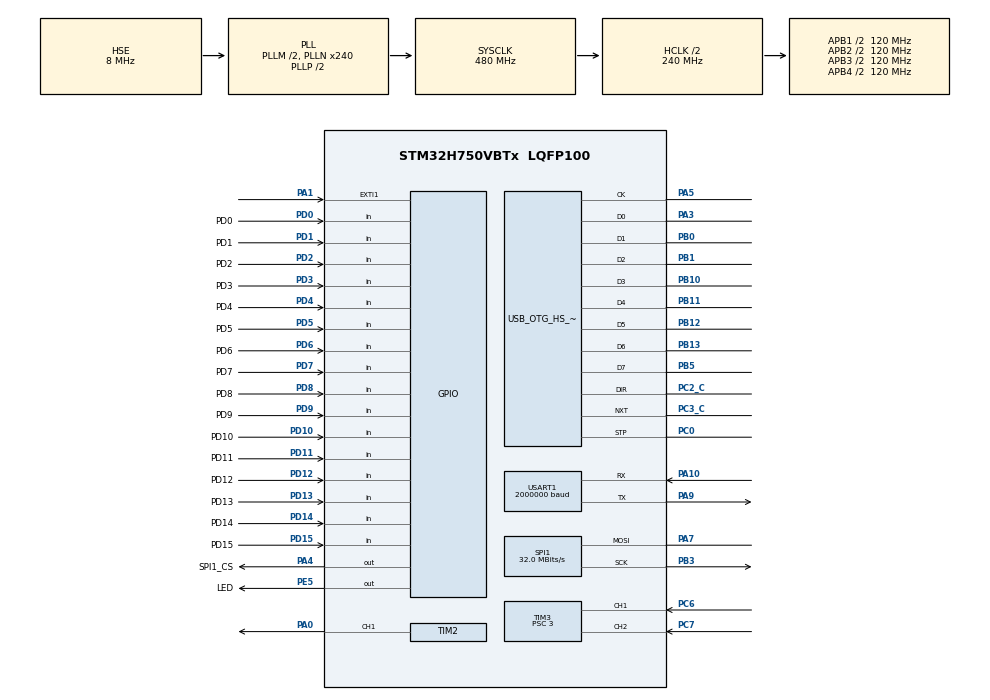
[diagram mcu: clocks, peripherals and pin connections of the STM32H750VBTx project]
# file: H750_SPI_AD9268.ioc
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CORTEX_M7.CPU_DCache=Enabled
CORTEX_M7.CPU_ICache=Enabled
Mcu.Family=STM32H7
Mcu.Name=STM32H750VBTx
Mcu.Package=LQFP100
NVIC.EXTI1_IRQn=true\:0\:0\:false\:false\:true\:true\:true\:true
NVIC.OTG_HS_EP1_IN_IRQn=true\:0\:0\:false\:false\:true\:true\:true\:true
NVIC.OTG_HS_EP1_OUT_IRQn=true\:0\:0\:false\:false\:true\:true\:true\:true
NVIC.OTG_HS_IRQn=true\:0\:0\:false\:false\:true\:true\:true\:true
NVIC.PriorityGroup=NVIC_PRIORITYGROUP_2
NVIC.TIM3_IRQn=true\:0\:0\:false\:false\:true\:true\:true\:true
NVIC.USART1_IRQn=true\:0\:0\:false\:false\:true\:true\:true\:true
PA0.GPIO_Speed=GPIO_SPEED_FREQ_VERY_HIGH
PA0.Signal=S_TIM2_CH1_ETR
PA1.GPIO_PuPd=GPIO_PULLUP
PA1.Signal=GPXTI1
PA10.Mode=Asynchronous
PA10.Signal=USART1_RX
PA3.Mode=Device_HS
PA3.Signal=USB_OTG_HS_ULPI_D0
PA4.GPIO_Label=SPI1_CS
PA4.GPIO_Speed=GPIO_SPEED_FREQ_VERY_HIGH
PA4.Signal=GPIO_Output
PA5.Mode=Device_HS
PA5.Signal=USB_OTG_HS_ULPI_CK
PA7.Mode=Simplex_Bidirectional_Master
PA7.Signal=SPI1_MOSI
PA9.Mode=Asynchronous
PA9.Signal=USART1_TX
PB0.Mode=Device_HS
PB0.Signal=USB_OTG_HS_ULPI_D1
PB1.Mode=Device_HS
PB1.Signal=USB_OTG_HS_ULPI_D2
PB10.Mode=Device_HS
PB10.Signal=USB_OTG_HS_ULPI_D3
PB11.Mode=Device_HS
PB11.Signal=USB_OTG_HS_ULPI_D4
PB12.Mode=Device_HS
PB12.Signal=USB_OTG_HS_ULPI_D5
PB13.Mode=Device_HS
PB13.Signal=USB_OTG_HS_ULPI_D6
PB3\ (JTDO/TRACESWO).Mode=Simplex_Bidirectional_Master
PB3\ (JTDO/TRACESWO).Signal=SPI1_SCK
PB5.Mode=Device_HS
PB5.Signal=USB_OTG_HS_ULPI_D7
PC0.Mode=Device_HS
PC0.Signal=USB_OTG_HS_ULPI_STP
PC2_C.Mode=Device_HS
PC2_C.Signal=USB_OTG_HS_ULPI_DIR
PC3_C.Mode=Device_HS
PC3_C.Signal=USB_OTG_HS_ULPI_NXT
PC6.GPIO_Speed=GPIO_SPEED_FREQ_VERY_HIGH
PC6.Signal=S_TIM3_CH1
PC7.GPIO_Speed=GPIO_SPEED_FREQ_VERY_HIGH
PC7.Signal=S_TIM3_CH2
PD0.GPIO_Label=PD0
PD0.Signal=GPIO_Input
PD1.GPIO_Label=PD1
PD1.Signal=GPIO_Input
PD10.GPIO_Label=PD10
PD10.Signal=GPIO_Input
PD11.GPIO_Label=PD11
PD11.Signal=GPIO_Input
PD12.GPIO_Label=PD12
PD12.Signal=GPIO_Input
PD13.GPIO_Label=PD13
PD13.Signal=GPIO_Input
PD14.GPIO_Label=PD14
PD14.Signal=GPIO_Input
PD15.GPIO_Label=PD15
PD15.Signal=GPIO_Input
PD2.GPIO_Label=PD2
PD2.Signal=GPIO_Input
PD3.GPIO_Label=PD3
PD3.Signal=GPIO_Input
PD4.GPIO_Label=PD4
PD4.Signal=GPIO_Input
PD5.GPIO_Label=PD5
PD5.Signal=GPIO_Input
PD6.GPIO_Label=PD6
PD6.Signal=GPIO_Input
PD7.GPIO_Label=PD7
PD7.Signal=GPIO_Input
PD8.GPIO_Label=PD8
PD8.Signal=GPIO_Input
PD9.GPIO_Label=PD9
PD9.Signal=GPIO_Input
PE5.GPIO_Label=LED
PE5.Signal=GPIO_Output
PH0-OSC_IN\ (PH0).Mode=HSE-External-Oscillator
PH0-OSC_IN\ (PH0).Signal=RCC_OSC_IN
PH1-OSC_OUT\ (PH1).Mode=HSE-External-Oscillator
PH1-OSC_OUT\ (PH1).Signal=RCC_OSC_OUT
ProjectManager.HeapSize=0x400
ProjectManager.StackSize=0x400
ProjectManager.TargetToolchain=MDK-ARM V5
RCC.ADCFreq_Value=16125000
RCC.APB1Freq_Value=120000000
RCC.APB2Freq_Value=120000000
RCC.APB3Freq_Value=120000000
RCC.APB4Freq_Value=120000000
RCC.CortexFreq_Value=480000000
RCC.D1PPRE=RCC_APB3_DIV2
RCC.D2PPRE1=RCC_APB1_DIV2
RCC.D2PPRE2=RCC_APB2_DIV2
RCC.D3PPRE=RCC_APB4_DIV2
RCC.DIVM1=2
RCC.DIVN1=240
RCC.HCLKFreq_Value=240000000
RCC.HPRE=RCC_HCLK_DIV2
RCC.HSE_VALUE=8000000
RCC.PLLSourceVirtual=RCC_PLLSOURCE_HSE
RCC.PWR_Regulator_Voltage_Scale=PWR_REGULATOR_VOLTAGE_SCALE0
RCC.ProductRev=revV
RCC.SPI123CLockSelection=RCC_SPI123CLKSOURCE_CLKP
RCC.SYSCLKFreq_VALUE=480000000
RCC.SYSCLKSource=RCC_SYSCLKSOURCE_PLLCLK
RCC.USBCLockSelection=RCC_USBCLKSOURCE_HSI48
RCC.USBFreq_Value=48000000
SH.S_TIM2_CH1_ETR.0=TIM2_CH1,PWM Generation1 CH1
SH.S_TIM3_CH1.0=TIM3_CH1,Encoder_Interface
SH.S_TIM3_CH2.0=TIM3_CH2,Encoder_Interface
SPI1.BaudRatePrescaler=SPI_BAUDRATEPRESCALER_2
SPI1.CLKPhase=SPI_PHASE_1EDGE
SPI1.CalculateBaudRate=32.0 MBits/s
SPI1.DataSize=SPI_DATASIZE_8BIT
SPI1.Direction=SPI_DIRECTION_1LINE
SPI1.Mode=SPI_MODE_MASTER
SPI1.VirtualType=VM_MASTER
TIM2.Channel-PWM\ Generation1\ CH1=TIM_CHANNEL_1
TIM2.Period=3-1
TIM2.Prescaler=2-1
TIM2.Pulse-PWM\ Generation1\ CH1=1
TIM3.EncoderMode=TIM_ENCODERMODE_TI12
TIM3.IC1Filter=5
TIM3.IC2Filter=5
TIM3.Period=65535
TIM3.Prescaler=3
USART1.BaudRate=2000000
USART1.VirtualMode-Asynchronous=VM_ASYNC
USB_DEVICE.CLASS_NAME_HS=CDC
USB_DEVICE.VirtualMode-CDC_HS=Cdc
USB_DEVICE.VirtualModeHS=Cdc_HS
USB_OTG_HS.VirtualMode-Device_HS=Device_HS
VP_TIM2_VS_ClockSourceINT.Mode=Internal
VP_USB_DEVICE_VS_USB_DEVICE_CDC_HS.Mode=CDC_HS
board=custom

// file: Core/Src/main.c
/* USER CODE BEGIN Header */
/**
  ******************************************************************************
  * @file           : main.c
  * @brief          : Main program body
  ******************************************************************************
  * @attention
  *
  * Copyright (c) 2024 STMicroelectronics.
  * All rights reserved.
  *
  * This software is licensed under terms that can be found in the LICENSE file
  * in the root directory of this software component.
  * If no LICENSE file comes with this software, it is provided AS-IS.
  *
  ******************************************************************************
  */
/* USER CODE END Header */
#include "main.h"
#include "spi.h"
#include "tim.h"
#include "usart.h"
#include "usb_device.h"
#include "gpio.h"

/* USER CODE BEGIN Includes */
//#include "retarget.h"
#include "AD9268.h"
#include "Parallel_to_Serial.h"
#include "stdio.h"
#include <stdint.h>

#include "usbd_cdc_if.h"
#include <stdlib.h>
int fputc(int ch, FILE *f)
{
  HAL_UART_Transmit(&huart1, (uint8_t *)&ch, 1, 0xffff);
  return ch;
}
int fgetc(FILE *f)
{
  uint8_t ch = 0;
  HAL_UART_Receive(&huart1, &ch, 1, 0xffff);
  return ch;
}

/* USER CODE END Includes */

/* USER CODE BEGIN PV */

int    enc1;
int    enc2;
int  average_value=0;

int Measure_freq=0;
int Measure_step=0;
uint16_t ev_co[1520];
uint16_t adc_array[1520];
/* USER CODE END PV */

void SystemClock_Config(void);
void PeriphCommonClock_Config(void);

/* USER CODE BEGIN 0 */
extern USBD_HandleTypeDef hUsbDeviceHS;
extern  int Data_Counter;
extern int16_t ans[17000];
uint8_t		buf[2900];
/* USER CODE END 0 */

int main(void)
{

  /* Enable I-Cache---------------------------------------------------------*/
  SCB_EnableICache();

  /* Enable D-Cache---------------------------------------------------------*/
  SCB_EnableDCache();

  /* MCU Configuration--------------------------------------------------------*/

  /* Reset of all peripherals, Initializes the Flash interface and the Systick. */
  HAL_Init();

  /* Configure the system clock */
  SystemClock_Config();

/* Configure the peripherals common clocks */
  PeriphCommonClock_Config();

  /* Initialize all configured peripherals */
  MX_GPIO_Init();
  MX_TIM2_Init();
  MX_USART1_UART_Init();
  MX_SPI1_Init();
  MX_TIM3_Init();
  MX_USB_DEVICE_Init();
  /* USER CODE BEGIN 2 */
	SCB->CACR|=1<<2;
	Init_AD9268();
	HAL_Delay(100);
	HAL_TIM_PWM_Start(&htim2, TIM_CHANNEL_1);

//	MX_TIM1_Init();
	HAL_TIM_Encoder_Start(&htim3, TIM_CHANNEL_ALL);

  /* USER CODE END 2 */

  /* Infinite loop */
  while (1)
  {

    /* USER CODE BEGIN 3 */
		Measure_step=0;
		Measure_freq=0;
		for(int K=0;K<1593;K+=8)//先处�?300步，得到300步的数据
		{
				enc1 = __HAL_TIM_GET_COUNTER(&htim3);//获取定时器的�?
				enc2 = enc1;
				//变量Measure_step记录走了多少步，变量Measure_freq记录测了多少次，�?步测N�?
				while(abs(enc2-enc1)==0)
				//enc1的�?�在�?步里面是不变的，enc2的�?�是实时获取�?,不管enc2是正还是负数，取绝对值才�?
				{
						ev_co[Measure_freq]=GPIOD->IDR;
						Measure_freq++;
						//�?格最多采�?300次adc，如果adc的最大采样率�?3M的话
						enc2 = __HAL_TIM_GET_COUNTER(&htim3);//获取定时器的�?
						if(Measure_freq>=400)
						{
								Measure_freq=400;
						}
				}
				adc_array[Measure_step]=calculateMean(ev_co,Measure_freq);
				//平均采集Measure_freq次之后的结果，放到adc_array中，第一步放到adc_arrray[0]中，第二步放到adc_array[1]�?
				average_value = adc_array[Measure_step];//如果不处理就�?步都不平�?
				Measure_step++;
				Measure_freq=0;
				data_shift(K);
		}
		CDC_Transmit_HS(buf, 1600);
  }
  /* USER CODE END 3 */
}

void SystemClock_Config(void)
{
  RCC_OscInitTypeDef RCC_OscInitStruct = {0};
  RCC_ClkInitTypeDef RCC_ClkInitStruct = {0};

  /** Supply configuration update enable
  */
  HAL_PWREx_ConfigSupply(PWR_LDO_SUPPLY);

  /** Configure the main internal regulator output voltage
  */
  __HAL_PWR_VOLTAGESCALING_CONFIG(PWR_REGULATOR_VOLTAGE_SCALE1);

  while(!__HAL_PWR_GET_FLAG(PWR_FLAG_VOSRDY)) {}

  __HAL_RCC_SYSCFG_CLK_ENABLE();
  __HAL_PWR_VOLTAGESCALING_CONFIG(PWR_REGULATOR_VOLTAGE_SCALE0);

  while(!__HAL_PWR_GET_FLAG(PWR_FLAG_VOSRDY)) {}

  /** Initializes the RCC Oscillators according to the specified parameters
  * in the RCC_OscInitTypeDef structure.
  */
  RCC_OscInitStruct.OscillatorType = RCC_OSCILLATORTYPE_HSI48|RCC_OSCILLATORTYPE_HSI
                              |RCC_OSCILLATORTYPE_HSE;
  RCC_OscInitStruct.HSEState = RCC_HSE_ON;
  RCC_OscInitStruct.HSIState = RCC_HSI_DIV1;
  RCC_OscInitStruct.HSICalibrationValue = RCC_HSICALIBRATION_DEFAULT;
  RCC_OscInitStruct.HSI48State = RCC_HSI48_ON;
  RCC_OscInitStruct.PLL.PLLState = RCC_PLL_ON;
  RCC_OscInitStruct.PLL.PLLSource = RCC_PLLSOURCE_HSE;
  RCC_OscInitStruct.PLL.PLLM = 2;
  RCC_OscInitStruct.PLL.PLLN = 240;
  RCC_OscInitStruct.PLL.PLLP = 2;
  RCC_OscInitStruct.PLL.PLLQ = 2;
  RCC_OscInitStruct.PLL.PLLR = 2;
  RCC_OscInitStruct.PLL.PLLRGE = RCC_PLL1VCIRANGE_2;
  RCC_OscInitStruct.PLL.PLLVCOSEL = RCC_PLL1VCOWIDE;
  RCC_OscInitStruct.PLL.PLLFRACN = 0;
  if (HAL_RCC_OscConfig(&RCC_OscInitStruct) != HAL_OK)
  {
    Error_Handler();
  }

  /** Initializes the CPU, AHB and APB buses clocks
  */
  RCC_ClkInitStruct.ClockType = RCC_CLOCKTYPE_HCLK|RCC_CLOCKTYPE_SYSCLK
                              |RCC_CLOCKTYPE_PCLK1|RCC_CLOCKTYPE_PCLK2
                              |RCC_CLOCKTYPE_D3PCLK1|RCC_CLOCKTYPE_D1PCLK1;
  RCC_ClkInitStruct.SYSCLKSource = RCC_SYSCLKSOURCE_PLLCLK;
  RCC_ClkInitStruct.SYSCLKDivider = RCC_SYSCLK_DIV1;
  RCC_ClkInitStruct.AHBCLKDivider = RCC_HCLK_DIV2;
  RCC_ClkInitStruct.APB3CLKDivider = RCC_APB3_DIV2;
  RCC_ClkInitStruct.APB1CLKDivider = RCC_APB1_DIV2;
  RCC_ClkInitStruct.APB2CLKDivider = RCC_APB2_DIV2;
  RCC_ClkInitStruct.APB4CLKDivider = RCC_APB4_DIV2;

  if (HAL_RCC_ClockConfig(&RCC_ClkInitStruct, FLASH_LATENCY_4) != HAL_OK)
  {
    Error_Handler();
  }
}

void PeriphCommonClock_Config(void)
{
  RCC_PeriphCLKInitTypeDef PeriphClkInitStruct = {0};

  /** Initializes the peripherals clock
  */
  PeriphClkInitStruct.PeriphClockSelection = RCC_PERIPHCLK_CKPER;
  PeriphClkInitStruct.CkperClockSelection = RCC_CLKPSOURCE_HSI;
  if (HAL_RCCEx_PeriphCLKConfig(&PeriphClkInitStruct) != HAL_OK)
  {
    Error_Handler();
  }
}

/* USER CODE BEGIN 4 */

void data_shift(int j)
{
		buf[j] = (uint8_t)(average_value & 0xFF);
		buf[j+1]   = (uint8_t)((average_value >> 8) & 0xFF);
		buf[j+7] = 0xFF;
		buf[j+6] = 0x0D;
		buf[j+2] = (uint8_t)(enc2 & 0xFF);
		buf[j+3] = (uint8_t)((enc2 >> 8) & 0xFF);
//		buf[j+4] = (uint8_t)((enc2 >> 16) & 0xFF);
//		buf[j+5] = (uint8_t)((enc2 >> 24) & 0xFF);
		if(enc2>50000)
		{
			buf[j+4] = 0xff;
		  buf[j+5] = 0xff;
		}else
		{
			buf[j+4] = 0x00;
		  buf[j+5] = 0x00;
		}

}
uint16_t calculateMean(uint16_t *data, int size) {
    int sum = 0;

    for (int i = 0; i < size; i++) {
        sum += data[i];
    }
    return sum / size;
}
/* USER CODE END 4 */

void Error_Handler(void)
{
  __disable_irq();
  while (1)
  {
  }
}
